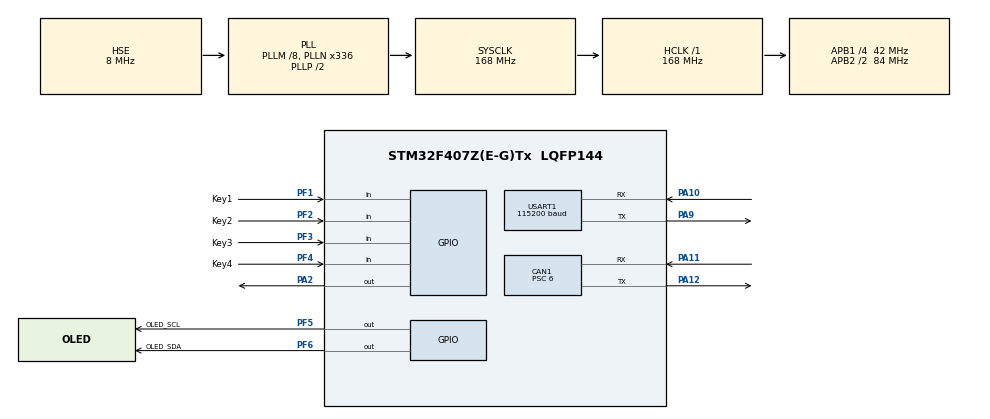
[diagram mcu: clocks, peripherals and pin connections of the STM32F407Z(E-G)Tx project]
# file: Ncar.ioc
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CAN1.ABOM=ENABLE
CAN1.BS1=CAN_BS1_11TQ
CAN1.BS2=CAN_BS2_2TQ
CAN1.CalculateBaudRate=500000
CAN1.CalculateTimeBit=2000
CAN1.CalculateTimeQuantum=142.85714285714286
CAN1.Mode=CAN_MODE_NORMAL
CAN1.NART=ENABLE
CAN1.Prescaler=6
FREERTOS.Tasks01=CanRxTask,32,256,StartCanRxTask,Default,NULL,Dynamic,NULL,NULL;CanProcessTask,24,256,StartCanProcessTask,Default,NULL,Dynamic,NULL,NULL;CanTxTask,16,256,StartCanTxTask,Default,NULL,Dynamic,NULL,NULL;MonitorTask,8,256,StartMonitorTask,Default,NULL,Dynamic,NULL,NULL;UartRxTask,32,256,StartUartRxTask,Default,NULL,Dynamic,NULL,NULL;UartProcTask,16,256,StartUartProcTask,Default,NULL,Dynamic,NULL,NULL
Mcu.Family=STM32F4
Mcu.Name=STM32F407Z(E-G)Tx
Mcu.Package=LQFP144
NVIC.CAN1_RX0_IRQn=true\:5\:0\:false\:false\:true\:true\:true\:true\:true
NVIC.PriorityGroup=NVIC_PRIORITYGROUP_4
NVIC.TIM1_UP_TIM10_IRQn=true\:15\:0\:false\:false\:true\:false\:false\:true\:true
NVIC.TimeBase=TIM1_UP_TIM10_IRQn
NVIC.TimeBaseIP=TIM1
NVIC.USART1_IRQn=true\:5\:0\:true\:false\:true\:true\:true\:true\:true
PA10.Mode=Asynchronous
PA10.Signal=USART1_RX
PA11.GPIO_PuPd=GPIO_PULLUP
PA11.Mode=CAN_Activate
PA11.Signal=CAN1_RX
PA12.Mode=CAN_Activate
PA12.Signal=CAN1_TX
PA13.Mode=Serial_Wire
PA13.Signal=SYS_JTMS-SWDIO
PA14.Mode=Serial_Wire
PA14.Signal=SYS_JTCK-SWCLK
PA2.GPIO_PuPd=GPIO_PULLDOWN
PA2.GPIO_Speed=GPIO_SPEED_FREQ_HIGH
PA2.Signal=GPIO_Output
PA9.Mode=Asynchronous
PA9.Signal=USART1_TX
PF1.GPIO_Label=Key1
PF1.GPIO_PuPd=GPIO_PULLUP
PF1.Signal=GPIO_Input
PF2.GPIO_Label=Key2
PF2.GPIO_PuPd=GPIO_PULLUP
PF2.Signal=GPIO_Input
PF3.GPIO_Label=Key3
PF3.GPIO_PuPd=GPIO_PULLUP
PF3.Signal=GPIO_Input
PF4.GPIO_Label=Key4
PF4.GPIO_PuPd=GPIO_PULLUP
PF4.Signal=GPIO_Input
PF5.GPIO_Label=OLED_SCL
PF5.Signal=GPIO_Output
PF6.GPIO_Label=OLED_SDA
PF6.Signal=GPIO_Output
PH0-OSC_IN.Mode=HSE-External-Oscillator
PH0-OSC_IN.Signal=RCC_OSC_IN
PH1-OSC_OUT.Mode=HSE-External-Oscillator
PH1-OSC_OUT.Signal=RCC_OSC_OUT
ProjectManager.HeapSize=0x200
ProjectManager.StackSize=0x400
ProjectManager.TargetToolchain=MDK-ARM V5.32
RCC.48MHZClocksFreq_Value=84000000
RCC.AHBFreq_Value=168000000
RCC.APB1CLKDivider=RCC_HCLK_DIV4
RCC.APB1Freq_Value=42000000
RCC.APB1TimFreq_Value=84000000
RCC.APB2CLKDivider=RCC_HCLK_DIV2
RCC.APB2Freq_Value=84000000
RCC.APB2TimFreq_Value=168000000
RCC.CortexFreq_Value=168000000
RCC.HCLKFreq_Value=168000000
RCC.HSE_VALUE=8000000
RCC.HSI_VALUE=16000000
RCC.LSE_VALUE=32768
RCC.PLLM=8
RCC.PLLN=336
RCC.PLLSourceVirtual=RCC_PLLSOURCE_HSE
RCC.SYSCLKFreq_VALUE=168000000
RCC.SYSCLKSource=RCC_SYSCLKSOURCE_PLLCLK
RCC.VCOOutputFreq_Value=336000000
USART1.BaudRate=115200
USART1.VirtualMode=VM_ASYNC
VP_FREERTOS_VS_CMSIS_V2.Mode=CMSIS_V2
VP_SYS_VS_tim1.Mode=TIM1
board=custom

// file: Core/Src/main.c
/* USER CODE BEGIN Header */
/**
  ******************************************************************************
  * @file           : main.c
  * @brief          : Main program body
  ******************************************************************************
  * @attention
  *
  * Copyright (c) 2026 STMicroelectronics.
  * All rights reserved.
  *
  * This software is licensed under terms that can be found in the LICENSE file
  * in the root directory of this software component.
  * If no LICENSE file comes with this software, it is provided AS-IS.
  *
  ******************************************************************************
  */
/* USER CODE END Header */
#include "main.h"
#include "cmsis_os.h"
#include "can.h"
#include "usart.h"
#include "gpio.h"

/* USER CODE BEGIN Includes */

#include "cmsis_os.h"              /* ★ CMSIS-RTOS2 的队列 API */
#include <string.h>                /* ★ memcpy */
#include "MYUSART.h"    		   /* ★ 提供 Serial_Printf —— ★ 函数名按你 MYUSART.h 里实际的来 */

extern osMessageQueueId_t CanRxQueueHandle;   /* ★ 队列句柄(在 freertos.c 里定义) */

/* USER CODE END Includes */

void SystemClock_Config(void);
void MX_FREERTOS_Init(void);

/* USER CODE BEGIN 0 */
#define APP_ADDR   0x08010000U          /* 		 必须和 APP 的 IROM1 Start 一致 */
#define APP_SECTOR_FIRST  FLASH_SECTOR_4        /* APP 区起始扇区 */
#define APP_SECTOR_LAST   FLASH_SECTOR_11       /* APP 区最后扇区 */
#define RX_TIMEOUT_MS     200U                  /* 200ms 没新字节 → 认为传完 */

/* ★★★ 断电保护魔数
   位置: Sector 4 内、距 APP_ADDR 0xFF00 (65280) 处
   为什么放这: 擦除优化后只擦"需要的扇区"(当前只擦 Sector 4)，
              魔数必须落在【会被擦到】的地址，否则旧魔数残留 → 误判有效
   限制: 固件最大 0xFE00 (65024) 字节，给魔数留 256 字节余量
  若以后固件涨到 64KB 以上(要擦 2 个扇区)，这个地址要重新设计 */
#define APP_MAGIC_ADDR   (APP_ADDR + 0xFF00U)
#define APP_MAGIC_VAL    0x5AA5C33CU
#define APP_FW_MAX_LEN   0xFE00U

/* ═══════════════════════════════════════════════════════════════
   ★★★ 双区回滚分区（路线2：新固件先写 B 区 → 校验 → 搬运到 A 区）

   为什么用"搬运"而不是"两份固件"：
        A 区在 0x08010000、B 区在 0x08080000，地址不同，
        同一份 bin 不能两边通用（链接器把绝对地址写死了）。
        所以：只生成一份固件（按 A 区地址链接）→ 先写 B 区校验 →
              校验通过后再搬回 A 区。
   ═══════════════════════════════════════════════════════════════ */
#define APP_A_ADDR        0x08010000U   /* A 区（真正运行） */
#define APP_A_SECTOR      FLASH_SECTOR_4
#define APP_A_SECTORS     4U            /* Sector 4~7 = 448KB */

#define APP_B_ADDR        0x08080000U   /* B 区（升级暂存） */
#define APP_B_SECTOR      FLASH_SECTOR_8
#define APP_B_SECTORS     3U            /* Sector 8~10 = 384KB */

/* 标志区：日志式多槽，128 个槽 × 1KB = 128KB（Sector 11） */
#define FLAG_AREA_ADDR    0x080E0000U
#define FLAG_AREA_SECTOR  FLASH_SECTOR_11
#define FLAG_SLOT_SIZE    0x400U
#define FLAG_SLOT_COUNT   (128U * 1024U / FLAG_SLOT_SIZE)   /* = 128 */

/* 状态值（高 16 位是防误判的暗号） */
#define SYS_STATE_MAGIC      0xA5A50000U
#define SYS_STATE_NORMAL     0x00000000U   /* 正常：跳 A 区 */
#define SYS_STATE_COPYING    0x00000001U   /* 待搬运：B → A */

typedef void (*pFunction)(void);

static void JumpToApp(uint32_t appAddr)
{
    pFunction jump;
    uint32_t  sp, pc;
	uint32_t  i;            /* ★ 新增: 清 NVIC 用的循环变量 */

    sp = *(volatile uint32_t *)appAddr;              /* 取初始栈顶 */
    pc = *(volatile uint32_t *)(appAddr + 4U);       /* 取 Reset_Handler */

    __disable_irq();

//    HAL_RCC_DeInit();
//    HAL_DeInit();
    SysTick->CTRL = 0U;
    SysTick->LOAD = 0U;
    SysTick->VAL = 0U;

	for (i = 0U; i < 8U; i++)                   /* ③ 所有 NVIC 中断: 全关 + 全清 */
    {
        NVIC->ICER[i] = 0xFFFFFFFFU;            /*   关使能 */
        NVIC->ICPR[i] = 0xFFFFFFFFU;            /*   清挂起 */
    }
    Serial_Printf("[BL]正在跳转到 APP...\r\n");
    SCB->VTOR = appAddr;
    __set_MSP(sp);
    jump = (pFunction)pc;
    __enable_irq();
    jump();
}

/* ★★★ 检查 APP 区里是不是一份有效固件
       判据: 向量表第一个字 = 初始栈顶(SP), 必须落在 SRAM 范围内
             F407 的 SRAM = 0x20000000 ~ 0x20020000 (128KB)
             擦干净的 Flash 是 0xFFFFFFFF → 不在范围内 → 判为无效
       返回: RES_OK(0) = 有效,  RES_FAIL(1) = 无效
       ★ 全项目统一: 0=成功/有效, 1=失败/无效 */
static uint32_t CheckApp(uint32_t appAddr)
{
    uint32_t sp    = *(volatile uint32_t *)appAddr;
    /* ★ 魔数按"传入的区"算偏移 —— A 区得到 0x0801FF00，B 区得到 0x0808FF00 */
    uint32_t magic = *(volatile uint32_t *)(appAddr + 0xFF00U);

    /* ① 栈顶必须落在 SRAM 范围 */
    if (sp < 0x20000000U || sp > 0x20020000U)
    {
        return RES_FAIL;      /* 无效: 空的 / 被擦过 */
    }

    /* ② 魔数必须对 —— 防"写到一半断电"的残骸被误判为有效 */
    if (magic != APP_MAGIC_VAL)
    {
        return RES_FAIL;      /* 无效: 数据可能不完整 */
    }

    return RES_OK;            /* 有效 */
}

/* ★★★ 回一帧 ACK 给母机
       status : 0=OK, 1=错误
       frames : 已收帧数
       ★ ID = 0x200 + 自己的节点号 → 母机【一眼看出是哪台回的】     */
static void Can_SendAck(uint8_t status, uint16_t frames)
{
    CAN_TxHeaderTypeDef h;
    uint8_t  d[8];
    uint32_t mailbox;

    d[0] = FUNC_UP_ACK;
    d[1] = status;
    d[2] = (uint8_t)(frames & 0xFF);        /* 已收帧数, 小端 */
    d[3] = (uint8_t)(frames >> 8);
    d[4] = 0;
    d[5] = 0;
    d[6] = 0;
    d[7] = CAN_CalcCRC8(d, 7);              /* ★ Data[7] = CRC8 */

    h.StdId = UP_ID_ACK_BASE + MY_NODE_ID;  /* ★★ = 0x201 */
    h.ExtId = 0;
    h.IDE   = CAN_ID_STD;
    h.RTR   = CAN_RTR_DATA;
    h.DLC   = 8;
    h.TransmitGlobalTime = DISABLE;

    HAL_CAN_AddTxMessage(&hcan1, &h, d, &mailbox);
}

/* ★★★ 算 A 区要擦几个扇区
       A 区从 Sector 4 开始，而 F4 的扇区大小不统一:
           Sector 4    = 64KB
           Sector 5~11 = 128KB
       所以不能直接除，必须【一个扇区一个扇区地累加】 */
static uint32_t CalcEraseSectors(uint32_t len)
{
    uint32_t off     = 0U;                 /* 已经"覆盖"了多少字节 */
    uint32_t sec     = APP_SECTOR_FIRST;   /* 当前看到第几个扇区 */
    uint32_t cnt     = 0U;                 /* 已经数了几个扇区 */
    uint32_t secSize;                      /* 当前这个扇区有多大 */

    while (off < len && sec <= APP_SECTOR_LAST)
    {
        /* 每个扇区单独判断大小 */
        if (sec == FLASH_SECTOR_4)
        {
            secSize = 64U * 1024U;         /* Sector 4 = 64KB */
        }
        else
        {
            secSize = 128U * 1024U;        /* Sector 5~11 = 128KB */
        }

        off = off + secSize;               /* 累计覆盖的字节数 */
        cnt = cnt + 1U;                    /* 又用掉一个扇区 */
        sec = sec + 1U;                    /* 接着看下一个扇区 */
    }

    if (cnt == 0U)
    {
        cnt = 1U;                          /* 保险: 至少擦 1 个 */
    }

    return cnt;
}

/* ★★★ 算 B 区要擦几个扇区
       B 区从 Sector 8 开始，Sector 8/9/10 【全是 128KB】 → 大小统一
       所以【不需要】像 A 区那样逐扇区判断大小，直接累加就行 */
static uint32_t CalcSectorsForB(uint32_t len)
{
    uint32_t off     = 0U;
    uint32_t cnt     = 0U;
    uint32_t secSize = 128U * 1024U;       /* B 区每个扇区都是 128KB */
    uint32_t maxSec  = APP_B_SECTORS;      /* B 区总共只有 3 个扇区 */

    while (off < len && cnt < maxSec)
    {
        off = off + secSize;
        cnt = cnt + 1U;
    }

    if (cnt == 0U)
    {
        cnt = 1U;                          /* 保险: 至少擦 1 个 */
    }

    return cnt;
}

/* ═══════════════════════════════════════════════════════════════
   ★★★ 把 B 区的固件搬到 A 区（双区回滚的核心）

   调用时机有两个:
      · 升级流程里: B 区写完校验通过 → 立刻搬
      · 开机时:     标志区显示"待搬运"(说明上次搬一半断电了) → 再搬一次

   为什么"搬运"是幂等的(可以重复执行):
      · 每次都是"擦 A 区 → 从 B 区完整复制一份 → 校验"
      · 所以断电重来多少次，结果都一样 ?
   ═══════════════════════════════════════════════════════════════ */
static uint32_t CopyBtoA(uint32_t len)
{
    uint32_t i;
    uint32_t word;
    FLASH_EraseInitTypeDef er;
    uint32_t secErr = 0U;

	 /* ★ 如果传 0，就从 B 区读存好的长度（断电重启后走这条路） */
    if (len == 0U)
    {
        len = *(volatile uint32_t *)(APP_B_ADDR + 0xFF04U);
        Serial_Printf("[BL]搬运: 从 B 区读到长度 %u\r\n", (unsigned int)len);
    }

    if (len < 1024U || len > APP_FW_MAX_LEN)
    {
        return RES_FAIL;
    }

    /* ═══ ① 擦 A 区（A 区用逐扇区累加的算法，因为 Sector4 只有 64KB） ═══ */
    Serial_Printf("[BL]搬运: 擦除 A 区...\r\n");
    HAL_FLASH_Unlock();

    er.TypeErase    = FLASH_TYPEERASE_SECTORS;
    er.Banks        = FLASH_BANK_1;
    er.Sector       = APP_A_SECTOR;
    er.NbSectors    = CalcEraseSectors(len);      /* ← 原来的 A 区算法 */
    er.VoltageRange = FLASH_VOLTAGE_RANGE_3;

    if (HAL_FLASHEx_Erase(&er, &secErr) != HAL_OK)
    {
        Serial_Printf("[BL]搬运: 擦 A 区失败 secErr=%08X\r\n", (unsigned int)secErr);
        HAL_FLASH_Lock();
        return RES_FAIL;
    }

//	/* ═══════════════════════════════════════════════════════════
//       ★★★ 临时测试代码（测完必须删掉！）
//       目的: 制造 5 秒窗口，好在"A 区已擦空、B 区完整"的
//             最坏时刻拔电，验证重启后能否自愈
//       ?? 延时期间先 Lock，避免长时间持着 Flash 解锁状态
//       ═══════════════════════════════════════════════════════════ */
//    Serial_Printf("[BL]★★ A 区已擦空! 5 秒后开始复制 —— 现在拔电可测自愈\r\n");
//    HAL_FLASH_Lock();
//    HAL_Delay(5000);
//    HAL_FLASH_Unlock();
//    /* ═══════════ 临时测试代码结束 ═══════════ */

    /* ═══ ② B 区 → A 区 逐字复制 ═══ */
    Serial_Printf("[BL]搬运: 复制 %u 字节...\r\n", (unsigned int)len);

    for (i = 0U; i + 4U <= len; i += 4U)
    {
        word = *(volatile uint32_t *)(APP_B_ADDR + i);   /* 从 B 读 */

        if (HAL_FLASH_Program(FLASH_TYPEPROGRAM_WORD, APP_A_ADDR + i, word) != HAL_OK)
        {
            Serial_Printf("[BL]搬运: 写入失败 @%u\r\n", (unsigned int)i);
            HAL_FLASH_Lock();
            return RES_FAIL;
        }
    }

    /* ═══ ③ 先把 A 区解锁关掉（复制完了） ═══ */
    HAL_FLASH_Lock();

    /* ═══ ④ 校验 A 区（和 B 区逐字比对） ═══ */
    {
        uint32_t *p = (uint32_t *)APP_A_ADDR;
        uint32_t k, bad = 0xFFFFFFFFU;

        for (k = 0U; k + 4U <= len; k += 4U)
        {
            uint32_t src = *(volatile uint32_t *)(APP_B_ADDR + k);

            if (p[k / 4U] != src)
            {
                bad = k;
                break;
            }
        }

        if (bad != 0xFFFFFFFFU)
        {
            Serial_Printf("[BL]搬运: 校验失败 @%u\r\n", (unsigned int)bad);
            return RES_FAIL;      /* ★ 魔数没写 → 下次开机判无效 → 停 BL 可自救 */
        }
    }

    /* ═══ ⑤ ★★★ 校验通过之后才写魔数（断电保护的关键） ═══
       如果提前写，搬运失败时 A 区会有"魔数有、数据残缺"的假有效，
       下次开机跳进残骸 → 变砖 */
    HAL_FLASH_Unlock();
    if (HAL_FLASH_Program(FLASH_TYPEPROGRAM_WORD,
                          APP_A_ADDR + 0xFF00U, APP_MAGIC_VAL) != HAL_OK)
    {
        Serial_Printf("[BL]搬运: 写 A 区魔数失败\r\n");
        HAL_FLASH_Lock();
        return RES_FAIL;
    }
    HAL_FLASH_Lock();

    Serial_Printf("[BL]搬运完成, A 区已就绪\r\n");
    return RES_OK;

}

/* ═══ 标志区：读当前状态 ═══
   日志式读法：从槽 0 往后扫，遇到第一个 0xFFFFFFFF(空槽) 就停，
               它【前面那个槽】就是最新状态。
   为什么这样读: Flash 只能"擦完重写"，不能原地改；
                 日志式靠"往后追加"，任何时刻断电都不会丢状态 */
static uint32_t Flag_GetState(void)
{
    uint32_t i;
    uint32_t val;

    for (i = 0U; i < FLAG_SLOT_COUNT; i++)
    {
        val = *(volatile uint32_t *)(FLAG_AREA_ADDR + i * FLAG_SLOT_SIZE);

        if (val == 0xFFFFFFFFU)           /* 第一个空槽 */
        {
            if (i == 0U)
            {
                return SYS_STATE_NORMAL;  /* 从没写过 → 默认正常 */
            }
            val = *(volatile uint32_t *)(FLAG_AREA_ADDR + (i - 1U) * FLAG_SLOT_SIZE);
            /* 高 16 位是暗号才算有效，否则当垃圾忽略 */
            return ((val & 0xFFFF0000U) == SYS_STATE_MAGIC)
                   ? (val & 0x0000FFFFU) : SYS_STATE_NORMAL;
        }
    }

    /* 槽全用满了，取最后一个 */
    val = *(volatile uint32_t *)(FLAG_AREA_ADDR + (FLAG_SLOT_COUNT - 1U) * FLAG_SLOT_SIZE);
    return ((val & 0xFFFF0000U) == SYS_STATE_MAGIC)
           ? (val & 0x0000FFFFU) : SYS_STATE_NORMAL;
}

/* ═══ 标志区：写新状态（追加到第一个空槽，不擦除） ═══ */
static uint32_t Flag_SetState(uint32_t state)
{
    uint32_t i;
    uint32_t val;
    FLASH_EraseInitTypeDef er;
    uint32_t secErr = 0U;

    /* 找第一个空槽 */
    for (i = 0U; i < FLAG_SLOT_COUNT; i++)
    {
        val = *(volatile uint32_t *)(FLAG_AREA_ADDR + i * FLAG_SLOT_SIZE);
        if (val == 0xFFFFFFFFU)
        {
            break;
        }
    }

    HAL_FLASH_Unlock();

    /* 槽全用完了（128 次状态变化）→ 擦整个扇区，从槽 0 重来 */
    if (i >= FLAG_SLOT_COUNT)
    {
        er.TypeErase    = FLASH_TYPEERASE_SECTORS;
        er.Banks        = FLASH_BANK_1;
        er.Sector       = FLAG_AREA_SECTOR;
        er.NbSectors    = 1U;
        er.VoltageRange = FLASH_VOLTAGE_RANGE_3;

        if (HAL_FLASHEx_Erase(&er, &secErr) != HAL_OK)
        {
            HAL_FLASH_Lock();
            return RES_FAIL;
        }
        i = 0U;
    }

    /* 追加写一个槽（只写 4 字节，不擦除 → 几微秒） */
    if (HAL_FLASH_Program(FLASH_TYPEPROGRAM_WORD,
                          FLAG_AREA_ADDR + i * FLAG_SLOT_SIZE,
                          SYS_STATE_MAGIC | (state & 0xFFFFU)) != HAL_OK)
    {
        HAL_FLASH_Lock();
        return RES_FAIL;
    }

    HAL_FLASH_Lock();
    return RES_OK;
}

/* ★ 固件缓冲: 32KB, 放 .bss(不占栈) */
#define APP_MAX_SIZE   0xFE00U
static uint8_t g_fwBuf[APP_MAX_SIZE];
/* ★★★ 通用: 把 g_fwBuf 里的 len 字节, 擦 → 写 → 校验 进 APP 区
       返回 1 = 通过, 0 = 失败
       ★ 串口版和 CAN 版【共用这一个函数】                              */
static uint32_t Flash_WriteFirmware(uint32_t len)
{
    uint32_t i;
    FLASH_EraseInitTypeDef er;
    uint32_t secErr = 0;

    /* ★ 长度合理性检查: 太短 → 根本不是固件, 别擦! */
    if (len < 1024U || len > APP_FW_MAX_LEN)
    {
        Serial_Printf("[BL]长度异常(%u), 拒绝升级, 不擦除\r\n", (unsigned int)len);
        return RES_FAIL;
    }

    /* ═══ ① 擦除 B 区（双区后：新固件先写 B 区，A 区不动）═══ */
    Serial_Printf("[BL]开始擦除 B 区... (固件 %u 字节 → 擦 %u 个扇区)\r\n",
                  (unsigned int)len,
                  (unsigned int)CalcSectorsForB(len));
    HAL_FLASH_Unlock();

    er.TypeErase    = FLASH_TYPEERASE_SECTORS;
    er.Banks        = FLASH_BANK_1;
    er.Sector       = APP_B_SECTOR;              /* ★ Sector 8 */
    er.NbSectors    = CalcSectorsForB(len);      /* ★ B 区全是 128KB 扇区 */
    er.VoltageRange = FLASH_VOLTAGE_RANGE_3;

    if (HAL_FLASHEx_Erase(&er, &secErr) != HAL_OK)
    {
        Serial_Printf("[BL]擦除 B 区失败 secErr=%08X\r\n", (unsigned int)secErr);
        HAL_FLASH_Lock();
        return RES_FAIL;
    }

    /* ═══ ② 写入 B 区 ═══ */
    Serial_Printf("[BL]开始写入 B 区...\r\n");

    for (i = 0; i + 4U <= len; i += 4U)
    {
        uint32_t word = (uint32_t)g_fwBuf[i]
                        | ((uint32_t)g_fwBuf[i + 1] << 8)
                        | ((uint32_t)g_fwBuf[i + 2] << 16)
                        | ((uint32_t)g_fwBuf[i + 3] << 24);

        if (HAL_FLASH_Program(FLASH_TYPEPROGRAM_WORD, APP_B_ADDR + i, word) != HAL_OK)
        {
            Serial_Printf("[BL]写入 B 区失败 @%u\r\n", (unsigned int)i);
            HAL_FLASH_Lock();
            return RES_FAIL;
        }
    }

    HAL_FLASH_Lock();
    Serial_Printf("[BL]B 区写入结束 共写入%u字节\r\n", (unsigned int)i);

    /* ═══ ③ 校验 B 区（和 RAM 里的 g_fwBuf 逐字比对）═══ */
    {
        uint32_t *p = (uint32_t *)APP_B_ADDR;     /* ★ 校验 B 区 */
        uint32_t k, bad = 0xFFFFFFFFU;

        for (k = 0U; k + 4U <= len; k += 4U)
        {
            uint32_t expect = (uint32_t)g_fwBuf[k]
                              | ((uint32_t)g_fwBuf[k + 1] << 8)
                              | ((uint32_t)g_fwBuf[k + 2] << 16)
                              | ((uint32_t)g_fwBuf[k + 3] << 24);

            if (p[k / 4U] != expect)
            {
                bad = k;
                break;
            }
        }

        if (bad != 0xFFFFFFFFU)
        {
            Serial_Printf("[BL]B 区校验失败 @%u\r\n", (unsigned int)bad);
            return RES_FAIL;   /* ★ 魔数/标志都不写 → 下次开机照跑 A 区, 安全 */
        }
    }

    /* ═══ ④ ★★★ 校验通过 → 写 B 区魔数 + 长度 + 标志"待搬运" ═══
       为什么顺序是这样:
         · 先写 B 区魔数和长度 → 证明"B 区是一份完整固件"
         · 再写标志"待搬运"   → 告诉下次开机"该搬了"
       如果魔数写失败就直接返回, 不写标志 →
       下次开机看到标志是"正常" → 照跑 A 区, 不会去搬一份坏固件 ?
       长度为什么存 B 区:
         · 断电重启后 RAM 里的 len 丢了
         · 搬运时需要知道长度, 所以和魔数一起存在 B 区 */
    HAL_FLASH_Unlock();

    /* ④-1 B 区魔数（证明完整） */
    if (HAL_FLASH_Program(FLASH_TYPEPROGRAM_WORD,
                          APP_B_ADDR + 0xFF00U, APP_MAGIC_VAL) != HAL_OK)
    {
        Serial_Printf("[BL]写 B 区魔数失败\r\n");
        HAL_FLASH_Lock();
        return RES_FAIL;
    }

    /* ④-2 B 区固件长度（搬运时要用） */
    if (HAL_FLASH_Program(FLASH_TYPEPROGRAM_WORD,
                          APP_B_ADDR + 0xFF04U, len) != HAL_OK)
    {
        Serial_Printf("[BL]写 B 区长度失败\r\n");
        HAL_FLASH_Lock();
        return RES_FAIL;
    }

    HAL_FLASH_Lock();

    /* ④-3 标志区：标记"待搬运" */
    if (Flag_SetState(SYS_STATE_COPYING) != RES_OK)
    {
        Serial_Printf("[BL]写标志失败\r\n");
        return RES_FAIL;
    }

    Serial_Printf("[BL]B 区就绪! (魔数+长度已写, 标志=待搬运)\r\n");
    return RES_OK;
}

static uint32_t DoUpGrade(uint8_t firstByte)
{
    uint32_t len = 0;
    uint8_t  tmp;

    /* ═══ ① 先收完(存进 RAM) ═══ */
    g_fwBuf[len++] = firstByte;              /* 探针那字节 */

    for (;;)
    {
        if (len >= APP_MAX_SIZE)
        {
            break;    /* 装满保护 */
        }

        if (HAL_UART_Receive(&huart1, &tmp, 1, RX_TIMEOUT_MS) != HAL_OK)
        {
            break;    /* ★ 1000ms 没新字节 → 收完了 */
        }

        g_fwBuf[len++] = tmp;
    }

    Serial_Printf("[BL]收到 %u 字节\r\n", (unsigned int)len);

    /* ═══ ②③④ 全部交给通用函数 ═══ */
    return Flash_WriteFirmware(len);
}

/* USER CODE END 0 */

int main(void)
{

  /* MCU Configuration--------------------------------------------------------*/

  /* Reset of all peripherals, Initializes the Flash interface and the Systick. */
  HAL_Init();

  /* Configure the system clock */
  SystemClock_Config();

  /* Initialize all configured peripherals */
  MX_GPIO_Init();
  MX_CAN1_Init();
  MX_USART1_UART_Init();
  HAL_Delay(10);        /* ★ 等 TX 引脚电平稳定, 再开始打印 */
  /* USER CODE BEGIN 2 */

    /* ★★★ 上电判断: 给 10 秒窗口
        · 这 10 秒内【按一下 Key1】     → 进升级模式(停在 BL)
        · 10 秒内没按 且 APP 有效       → 直接跳过去跑 APP
        · APP 无效(没升级过/被擦坏)     → 停在 BL 等升级
       为什么用"10 秒窗口"而不是"上电前按住":
         从上电到首次读引脚只有几毫秒，人手根本来不及按*/
    {
        uint32_t t0;
        uint8_t  keyPressed = 0U;        /* 声明放块首: ARMCC 默认 C90 */

        Serial_Printf("[BL]10 秒内按 Key1 进入升级模式...\r\n");
        t0 = HAL_GetTick();

        while ((HAL_GetTick() - t0) < 10000U)
        {
            if (HAL_GPIO_ReadPin(Key1_GPIO_Port, Key1_Pin) == GPIO_PIN_RESET)
            {
                keyPressed = 1U;
                break;                   /* ★ 一按到就立刻停等, 不用等满 10 秒 */
            }
            HAL_Delay(10);               /* ★ BL 里 RTOS 没启动 → 必须用 HAL_Delay */
        }

		if (keyPressed != 0U)
        {
            Serial_Printf("[BL]检测到 Key1 → 进入升级模式\r\n");
        }
        else
        {
            /* ★ C90: 变量声明必须放块首 */
            uint32_t st;

            /* ★★★ 第一步: 先看标志区有没有"待搬运"
               (上次升级完 B 区, 但还没搬到 A 区就被断电了)
               ★ 这个检查必须放在 CheckApp 之前 ——
                 因为 A 区此刻可能是残骸, CheckApp 会判无效,
                 但 B 区其实有一份完整固件可以搬 ? */
            st = Flag_GetState();

			if (st == SYS_STATE_COPYING)
            {
                Serial_Printf("[BL]发现待搬运标志 → 检查 B 区...\r\n");

				//因为本质这是第二次擦写了 copybtoa只能检测ab区的数值是不是一样的 但是无法判断b区的数值是否正确
				//所以要提前检测一下b区的正确性 在正确的情况下再擦写

                /* ★★★ 关键: 搬运前先确认 B 区真的是一份完整固件
                   (栈顶合法 + 魔数正确)
                   为什么必须查:
                     CopyBtoA 的校内验只能证明"复制没出错",
                     不能证明"B 区的源数据是对的" ——
                     如果 B 区是坏的, 复制+校验会"通过", A 区被写成垃圾 ? */
                if (CheckApp(APP_B_ADDR) != RES_OK)
                {
                    Serial_Printf("[BL]B 区无效! 标志作废, 留在 BL 等重新升级\r\n");
                    Flag_SetState(SYS_STATE_NORMAL);   /* ★ 清掉坏标志, 免得每次开机都试 */
                    /* 不跳转 —— 外层的 if 已经进来了，不会再走下面的 CheckApp(A) 分支，
					  所以实际是"直接落到 for(;;) 等下一次升级"，安全但要重新按 Key1 */
                }
                else if (CopyBtoA(0) == RES_OK)
                {
                    Flag_SetState(SYS_STATE_NORMAL);
                    Serial_Printf("[BL]搬运成功, 跳转到 APP\r\n");
                    JumpToApp(APP_ADDR);
                }
                else
                {
                    Serial_Printf("[BL]搬运失败, 停在 BL (B 区完整, 重启会重试)\r\n");
                }
            }
            else if (CheckApp(APP_ADDR) == RES_OK)
            {
                Serial_Printf("[BL]未按键且 APP 有xiao → 跳转到 APP\r\n");
                JumpToApp(APP_ADDR);
            }
            else
            {
                Serial_Printf("[BL]APP 无xiao, 继续等待升级\r\n");
            }
        }
    }

    Serial_Printf("[BL]停在 BL, 等待升级\r\n");

    /* ★★★ CAN 升级接收(第1版): 认 START → 收 DATA 存进 g_fwBuf */
    for(;;)
    {
        CanFrame_t f;
        uint32_t   t0;
        uint32_t   totalLen  = 0;      /* START 报的总长度 */
        uint32_t   got       = 0;      /* 已收字节数 */
        uint8_t    upgrading = 0;      /* 0=还没收到 START */
        uint16_t   expectSeq = 0;      /* ★ 期望收到的下一帧序号 */
        uint16_t   lostFrames = 0;     /* ★ 累计丢了多少帧 */

        Serial_Printf("[CAN] 等待 START 帧...\r\n");
        t0 = HAL_GetTick();

        while ((HAL_GetTick() - t0) < 10000U)
        {
            if (CanRing_Get(&f) != RES_OK)    /* ★ 统一: RES_OK(0)=取到, RES_FAIL(1)=空 */
            {
                continue;    /* 没帧 → 继续等 */
            }

			/* ★★★ 不是发给我的帧 → 无视
			(数据帧 ID = 0x100 + 目标节点号; 我的 = 0x101)
			★ ACK 帧(0x2xx) 也在这里被一起挡掉 ? */
			if (f.id != (UP_ID_DATA_BASE + MY_NODE_ID))
			   continue;

            /* ① 先验 CRC8, 错了直接丢 */
            if (CAN_CalcCRC8(f.data, PROTO_POS_CRC) != f.data[PROTO_POS_CRC])
            {
                continue;
            }

            /* ② 按功能码分派 */
            if (f.data[PROTO_POS_FUNC] == FUNC_UP_START)
            {
                totalLen = (uint32_t)f.data[1]
                           | ((uint32_t)f.data[2] << 8)
                           | ((uint32_t)f.data[3] << 16)
                           | ((uint32_t)f.data[4] << 24);
                got       = 0;
                upgrading = 1;
                expectSeq = 0;        /* ★★★ 新一轮, 序号从 0 重新数 */
                lostFrames = 0;       /* ★ 新一轮, 丢帧计数也归零 */
                t0 = HAL_GetTick();                  /* ★ 收到帧 → 重置超时 */
                Serial_Printf("[CAN] START: 总长 %u 字节\r\n", (unsigned int)totalLen);
				Can_SendAck(RES_OK, 0U);    /* ★ 告诉母机: "START 收到, 我准备好了" */
            }

            else if (f.data[PROTO_POS_FUNC] == FUNC_UP_DATA && upgrading)
            {

                /* ★★★ 取出发来的帧序号（小端） */
                uint16_t seq = (uint16_t)(f.data[UP_POS_SEQ]
                                          | (f.data[UP_POS_SEQ + 1] << 8));

                /* ★★★ 和期望的比 —— 不等就是【中间丢帧了】 */
                if (seq != expectSeq)
                {
                    Serial_Printf("[CAN] ? 丢帧! 期望 %u 收到 %u (已收 %u 字节)\r\n",
                                  (unsigned int)expectSeq,
                                  (unsigned int)seq,
                                  (unsigned int)got);
                    lostFrames += (uint16_t)(seq - expectSeq);   /* ★ 记账 */
                }

                expectSeq = (uint16_t)(seq + 1);                 /* ★ 跟上/前进一格 */

                if (got + UP_DATA_LEN <= APP_MAX_SIZE)
                {
                    g_fwBuf[got + 0] = f.data[UP_POS_DATA + 0];
                    g_fwBuf[got + 1] = f.data[UP_POS_DATA + 1];
                    g_fwBuf[got + 2] = f.data[UP_POS_DATA + 2];
                    g_fwBuf[got + 3] = f.data[UP_POS_DATA + 3];
                    got += UP_DATA_LEN;
                }

                t0 = HAL_GetTick();                  /* ★ 收到帧 → 重置超时 */

                /* ★ 进度打印已移除: 每 1000 字节一行, 一次升级要 28 行,
                   会把"本轮结束/丢帧/校验结果"这些关键信息淹没。
                   需要看进度时, 看母机侧每 100 帧一次的 [UP-ACK] 即可。 */
				/* ★★★ 用 expectSeq(帧序号) 判断"每 100 帧" ——
					 丢帧时它会【跟上】(不跳跃), 所以 ACK 不会漏 ? */
				if ((expectSeq % 100U) == 0U && expectSeq > 0U)
				   Can_SendAck(RES_OK, expectSeq);
            }

            else if (f.data[PROTO_POS_FUNC] == FUNC_UP_END)
            {
                uint16_t totalFrames = (uint16_t)(f.data[1] | (f.data[2] << 8));

                Serial_Printf("[CAN] ★ 本轮结束: 共收 %u / %u 字节, 收 %u 帧, 期望 %u 帧, 丢 %u 帧\r\n",
                              (unsigned int)got, (unsigned int)totalLen,
                              (unsigned int)(got / UP_DATA_LEN),
                              (unsigned int)totalFrames,
                              (unsigned int)lostFrames);

                /* ★★★ 收全了吗? 没全 → 【一个字都不写 Flash】 */
                if (got != totalLen || totalLen == 0U)
                {
                    Serial_Printf("[CAN] ? 收不全(%u/%u), 本轮作废, 不写 Flash\r\n",
                                  (unsigned int)got, (unsigned int)totalLen);
					Can_SendAck(RES_FAIL, (uint16_t)(got / UP_DATA_LEN));   /* ★ 收不全 */
                    upgrading = 0;
                    break;                              /* ★ 回 for(;;) 等下一轮 */
                }

                /* ★★★ 收全了 → 擦 → 写 → 校验（复用串口版那套） */
                Serial_Printf("[CAN] 收全, 开始写 Flash...\r\n");

                if (Flash_WriteFirmware(got) == RES_OK)
                {
                    Serial_Printf("[CAN] B 区写入并验证成功! (%u 字节)\r\n", (unsigned int)got);
                    /* ★ 这里【不发 ACK】—— 等搬运完再发, 否则母机会误报成功 */

                    /* ★★★ B 区就绪 → 立刻搬到 A 区
                           为什么不能直接跳 B 区: 固件是按【A 区地址】链接的,
                           在 B 区地址上跑, 所有绝对地址都会错位 */
                    Serial_Printf("[CAN] 开始搬运 B → A...\r\n");

                    if (CopyBtoA(got) == RES_OK)
                    {
                        Flag_SetState(SYS_STATE_NORMAL);     /* ★ 搬完清标志 */

                        /* ★★★ 到这里才算真正成功 → 才回 ACK */
                        Can_SendAck(RES_OK, (uint16_t)(got / UP_DATA_LEN));

                        Serial_Printf("[CAN] 搬运成功, 50ms 后跳转...\r\n");
                        HAL_Delay(50);
                        JumpToApp(APP_ADDR);                 /* ★ 跳 A 区 */
                    }
                    else
                    {
                        /* ★ 搬运失败: 回"失败", 停在 BL 别跳
                           B 区是完整的 → 重启后开机会自动重试搬运 */
                        Serial_Printf("[CAN] 搬运失败! 停在 BL (B 区完整, 重启自动重试)\r\n");
                        Can_SendAck(RES_FAIL, (uint16_t)(got / UP_DATA_LEN));
                    }
				}
                else
                {
                    Serial_Printf("[CAN] ? 写入或校验失败\r\n");
					Can_SendAck(RES_FAIL, (uint16_t)(got / UP_DATA_LEN));   /* ★ 写失败 */
                }

                upgrading = 0;
                break;                                  /* ★ 回 for(;;) 等下一轮 */
            }

            /* 其他功能码(心跳 0x01 等) → 落到这里, 什么都不做 = 无视 ? */
        }

        Serial_Printf("[CAN] 窗口结束: 共收 %u 字节, 期望序号 %u, 丢 %u 帧\r\n",
                      (unsigned int)got, (unsigned int)expectSeq, (unsigned int)lostFrames);
    }

  /* USER CODE END 2 */

//  /* Init scheduler */
//  osKernelInitialize();

//  /* Call init function for freertos objects (in cmsis_os2.c) */
//  MX_FREERTOS_Init();

//  /* Start scheduler */
//  osKernelStart();

  /* We should never get here as control is now taken by the scheduler */

  /* Infinite loop */
    while (1)
    {

    }
}

void SystemClock_Config(void)
{
  RCC_OscInitTypeDef RCC_OscInitStruct = {0};
  RCC_ClkInitTypeDef RCC_ClkInitStruct = {0};

  /** Configure the main internal regulator output voltage
  */
  __HAL_RCC_PWR_CLK_ENABLE();
  __HAL_PWR_VOLTAGESCALING_CONFIG(PWR_REGULATOR_VOLTAGE_SCALE1);

  /** Initializes the RCC Oscillators according to the specified parameters
  * in the RCC_OscInitTypeDef structure.
  */
  RCC_OscInitStruct.OscillatorType = RCC_OSCILLATORTYPE_HSE;
  RCC_OscInitStruct.HSEState = RCC_HSE_ON;
  RCC_OscInitStruct.PLL.PLLState = RCC_PLL_ON;
  RCC_OscInitStruct.PLL.PLLSource = RCC_PLLSOURCE_HSE;
  RCC_OscInitStruct.PLL.PLLM = 8;
  RCC_OscInitStruct.PLL.PLLN = 336;
  RCC_OscInitStruct.PLL.PLLP = RCC_PLLP_DIV2;
  RCC_OscInitStruct.PLL.PLLQ = 4;
  if (HAL_RCC_OscConfig(&RCC_OscInitStruct) != HAL_OK)
  {
    Error_Handler();
  }

  /** Initializes the CPU, AHB and APB buses clocks
  */
  RCC_ClkInitStruct.ClockType = RCC_CLOCKTYPE_HCLK|RCC_CLOCKTYPE_SYSCLK
                              |RCC_CLOCKTYPE_PCLK1|RCC_CLOCKTYPE_PCLK2;
  RCC_ClkInitStruct.SYSCLKSource = RCC_SYSCLKSOURCE_PLLCLK;
  RCC_ClkInitStruct.AHBCLKDivider = RCC_SYSCLK_DIV1;
  RCC_ClkInitStruct.APB1CLKDivider = RCC_HCLK_DIV4;
  RCC_ClkInitStruct.APB2CLKDivider = RCC_HCLK_DIV2;

  if (HAL_RCC_ClockConfig(&RCC_ClkInitStruct, FLASH_LATENCY_5) != HAL_OK)
  {
    Error_Handler();
  }
}

void HAL_TIM_PeriodElapsedCallback(TIM_HandleTypeDef *htim)
{
  if (htim->Instance == TIM1) {
    HAL_IncTick();
  }
}

void Error_Handler(void)
{
    __disable_irq();
    while (1)
    {
    }
}
